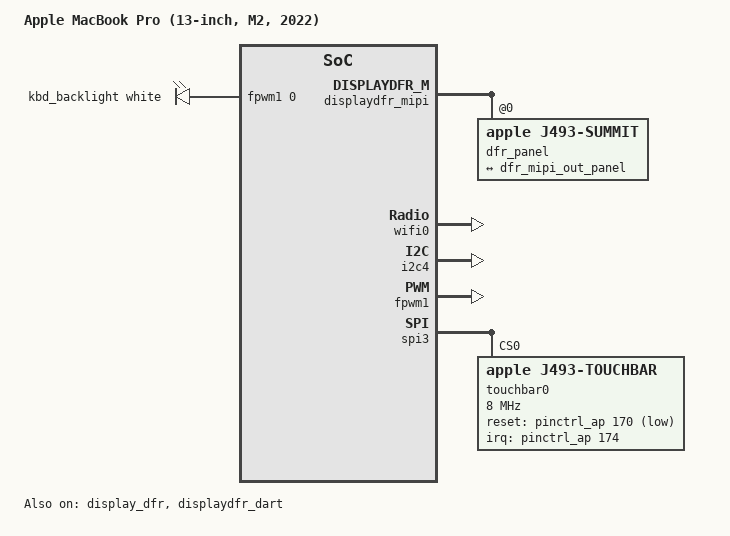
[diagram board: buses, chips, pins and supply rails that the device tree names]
// SPDX-License-Identifier: GPL-2.0+ OR MIT
/*
 * Apple MacBook Pro (13-inch, M1, 2022)
 *
 * target-type: J493
 *
 * Copyright The Asahi Linux Contributors
 */

/dts-v1/;

#include "t8112.dtsi"
#include "t8112-jxxx.dtsi"
#include <dt-bindings/leds/common.h>

/ {
	compatible = "apple,j493", "apple,t8112", "apple,arm-platform";
	model = "Apple MacBook Pro (13-inch, M2, 2022)";

	/*
	 * All of those are used by the bootloader to pass calibration
	 * blobs and other device-specific properties
	 */
	aliases {
		bluetooth0 = &bluetooth0;
		touchbar0 = &touchbar0;
		wifi0 = &wifi0;
	};

	led-controller {
		compatible = "pwm-leds";
		led-0 {
			pwms = <&fpwm1 0 40000>;
			label = "kbd_backlight";
			function = LED_FUNCTION_KBD_BACKLIGHT;
			color = <LED_COLOR_ID_WHITE>;
			max-brightness = <255>;
			default-state = "keep";
		};
	};
};

&display_dfr {
	status = "okay";
};

&dfr_mipi_out {
	dfr_mipi_out_panel: endpoint@0 {
		reg = <0>;
		remote-endpoint = <&dfr_panel_in>;
	};
};

&displaydfr_mipi {
	status = "okay";

	dfr_panel: panel@0 {
		compatible = "apple,j493-summit", "apple,summit";
		reg = <0>;
		max-brightness = <255>;

		port {
			dfr_panel_in: endpoint {
				remote-endpoint = <&dfr_mipi_out_panel>;
			};
		};
	};
};

&displaydfr_dart {
	status = "okay";
};

/*
 * Force the bus number assignments so that we can declare some of the
 * on-board devices and properties that are populated by the bootloader
 * (such as MAC addresses).
 */
&port00 {
	bus-range = <1 1>;
	wifi0: wifi@0,0 {
		compatible = "pci14e4,4425";
		reg = <0x10000 0x0 0x0 0x0 0x0>;
		/* To be filled by the loader */
		local-mac-address = [00 00 00 00 00 00];
		apple,antenna-sku = "XX";
		brcm,board-type = "apple,kyushu";
	};

	bluetooth0: bluetooth@0,1 {
		compatible = "pci14e4,5f69";
		reg = <0x10100 0x0 0x0 0x0 0x0>;
		/* To be filled by the loader */
		local-bd-address = [00 00 00 00 00 00];
		brcm,board-type = "apple,kyushu";
	};
};

&i2c4 {
	status = "okay";
};

&fpwm1 {
	status = "okay";
};

&spi3 {
	status = "okay";

	touchbar0: touchbar@0 {
		compatible = "apple,j493-touchbar";
		reg = <0>;
		spi-max-frequency = <8000000>;
		spi-cs-setup-delay-ns = <2000>;
		spi-cs-hold-delay-ns = <2000>;
		reset-gpios = <&pinctrl_ap 170 GPIO_ACTIVE_LOW>;
		interrupts-extended = <&pinctrl_ap 174 IRQ_TYPE_EDGE_FALLING>;
		firmware-name = "apple/dfrmtfw-j493.bin";
		touchscreen-size-x = <23045>;
		touchscreen-size-y = <640>;
		touchscreen-inverted-y;
	};
};
